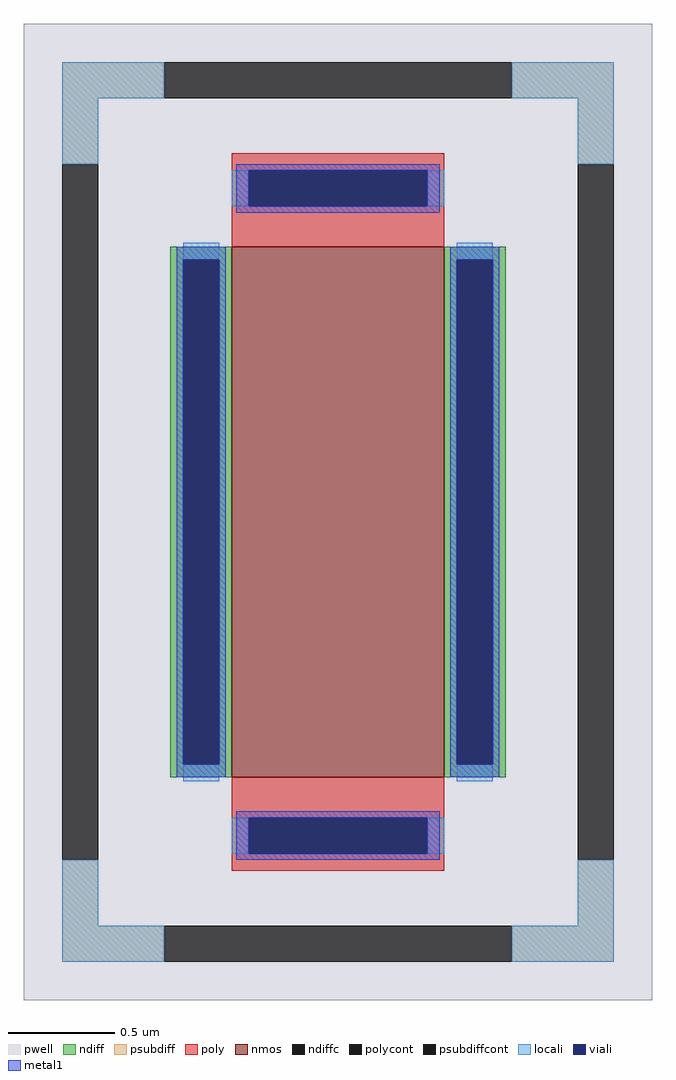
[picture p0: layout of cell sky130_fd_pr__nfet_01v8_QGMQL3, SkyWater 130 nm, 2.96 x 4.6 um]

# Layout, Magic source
magic
tech sky130A
<< pwell >>
rect -148 -230 148 230
<< nmos >>
rect -50 -125 50 125
<< ndiff >>
rect -79 119 -50 125
rect -79 -119 -73 119
rect -56 -119 -50 119
rect -79 -125 -50 -119
rect 50 119 79 125
rect 50 -119 56 119
rect 73 -119 79 119
rect 50 -125 79 -119
<< ndiffc >>
rect -73 -119 -56 119
rect 56 -119 73 119
<< psubdiff >>
rect -130 195 -82 212
rect 82 195 130 212
rect -130 164 -113 195
rect 113 164 130 195
rect -130 -195 -113 -164
rect 113 -195 130 -164
rect -130 -212 -82 -195
rect 82 -212 130 -195
<< psubdiffcont >>
rect -82 195 82 212
rect -130 -164 -113 164
rect 113 -164 130 164
rect -82 -212 82 -195
<< poly >>
rect -50 161 50 169
rect -50 144 -42 161
rect 42 144 50 161
rect -50 125 50 144
rect -50 -144 50 -125
rect -50 -161 -42 -144
rect 42 -161 50 -144
rect -50 -169 50 -161
<< polycont >>
rect -42 144 42 161
rect -42 -161 42 -144
<< locali >>
rect -130 195 -82 212
rect 82 195 130 212
rect -130 164 -113 195
rect 113 164 130 195
rect -50 144 -42 161
rect 42 144 50 161
rect -73 119 -56 127
rect -73 -127 -56 -119
rect 56 119 73 127
rect 56 -127 73 -119
rect -50 -161 -42 -144
rect 42 -161 50 -144
rect -130 -195 -113 -164
rect 113 -195 130 -164
rect -130 -212 -82 -195
rect 82 -212 130 -195
<< viali >>
rect -42 144 42 161
rect -73 -119 -56 119
rect 56 -119 73 119
rect -42 -161 42 -144
<< metal1 >>
rect -48 161 48 164
rect -48 144 -42 161
rect 42 144 48 161
rect -48 141 48 144
rect -76 119 -53 125
rect -76 -119 -73 119
rect -56 -119 -53 119
rect -76 -125 -53 -119
rect 53 119 76 125
rect 53 -119 56 119
rect 73 -119 76 119
rect 53 -125 76 -119
rect -48 -144 48 -141
rect -48 -161 -42 -144
rect 42 -161 48 -144
rect -48 -164 48 -161
<< properties >>
string FIXED_BBOX -121 -203 121 203
string gencell sky130_fd_pr__nfet_01v8
string library sky130
string parameters w 2.5 l 1.0 m 1 nf 1 diffcov 100 polycov 100 guard 1 glc 1 grc 1 gtc 1 gbc 1 tbcov 100 rlcov 100 topc 1 botc 1 poverlap 0 doverlap 1 lmin 0.15 wmin 0.42 compatible {sky130_fd_pr__nfet_01v8 sky130_fd_pr__nfet_01v8_lvt  sky130_fd_bs_flash__special_sonosfet_star  sky130_fd_pr__nfet_g5v0d10v5 sky130_fd_pr__nfet_05v0_nvt  sky130_fd_pr__nfet_03v3_nvt} full_metal 1 viasrc 100 viadrn 100 viagate 100 viagb 0 viagr 0 viagl 0 viagt 0
<< end >>
